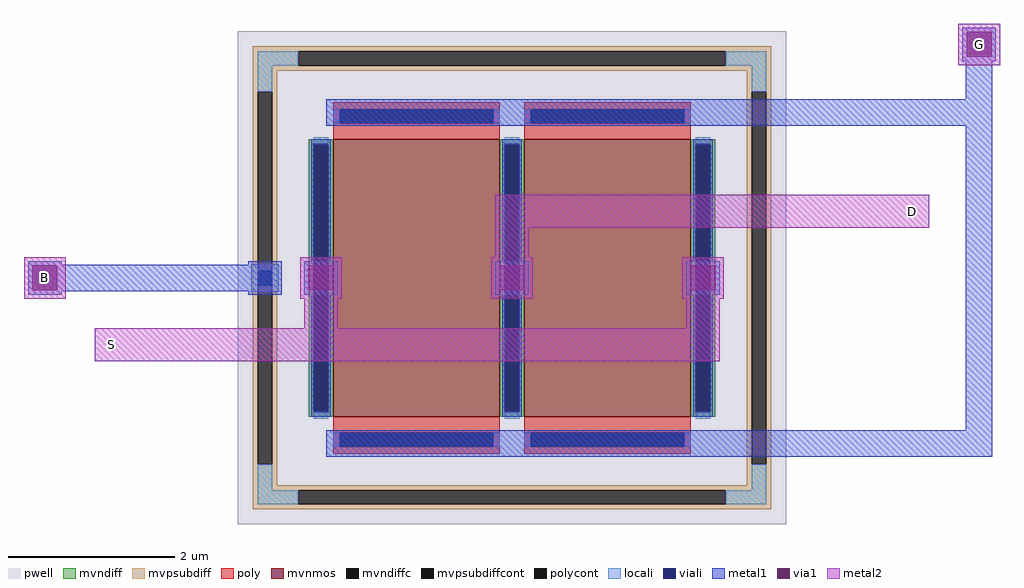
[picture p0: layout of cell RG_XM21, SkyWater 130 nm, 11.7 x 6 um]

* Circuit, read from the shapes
.subckt RG_XM21 B S D G
XM1 D G S B sky130_fd_pr__nfet_g5v0d10v5 w=3.33 l=2 m=2
.ends

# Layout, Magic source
magic
tech sky130A
magscale 1 2
use sky130_fd_pr__nfet_g5v0d10v5_ZEEQT3 XDEV
transform 1 0 0 0 1 0
box -657 -591 657 591
<< locali >>
rect -625 -33 -559 33
<< viali >>
rect -609 -17 -575 17
<< metal1 >>
rect -632 -40 -552 40
rect -1152 -32 -560 32
rect -1160 -40 -1080 40
rect -498 -40 -418 40
rect -40 -40 40 40
rect 418 -40 498 40
rect -445 365 1152 429
rect -445 -429 1152 -365
rect 1088 -420 1152 592
rect 1080 520 1160 600
<< via1 >>
rect -1150 -30 -1090 30
rect -488 -30 -428 30
rect -30 -30 30 30
rect 428 -30 488 30
rect 1090 530 1150 590
<< metal2 >>
rect -1170 -50 -1070 50
rect -508 -50 -408 50
rect -498 -40 -418 40
rect -498 -200 -418 40
rect -50 -50 50 50
rect -40 -40 40 40
rect -40 -40 40 200
rect 408 -50 508 50
rect 418 -40 498 40
rect 418 -200 498 40
rect -1000 -200 498 -120
rect -40 120 1000 200
rect 1070 510 1170 610
<< labels >>
rlabel metal2 -1150 -30 -1090 30 0 B
port 1 nsew
rlabel metal2 -990 -190 -930 -130 0 S
port 2 nsew
rlabel metal2 930 130 990 190 0 D
port 3 nsew
rlabel metal2 1090 530 1150 590 0 G
port 4 nsew
<< end >>

# cell sky130_fd_pr__nfet_g5v0d10v5_ZEEQT3: kit device sky130_fd_pr__nfet_g5v0d10v5, w 3.33 l 2.0 m 1 nf 2 diffcov 100 polycov 100 guard 1 glc 1 grc 1 gtc 1 gbc 1 tbcov 100 rlcov 100 topc 1 botc 1 poverlap 0 doverlap 1 lmin 0.50 wmin 0.42 compatible {sky130_fd_pr__nfet_01v8 sky130_fd_pr__nfet_01v8_lvt sky130_fd_bs_flash__special_sonosfet_star sky130_fd_pr__nfet_g5v0d10v5 sky130_fd_pr__nfet_05v0_nvt sky130_fd_pr__nfet_03v3_nvt} full_metal 1 viasrc 100 viadrn 100 viagate 100 viagb 0 viagr 0 viagl 0 viagt 0
